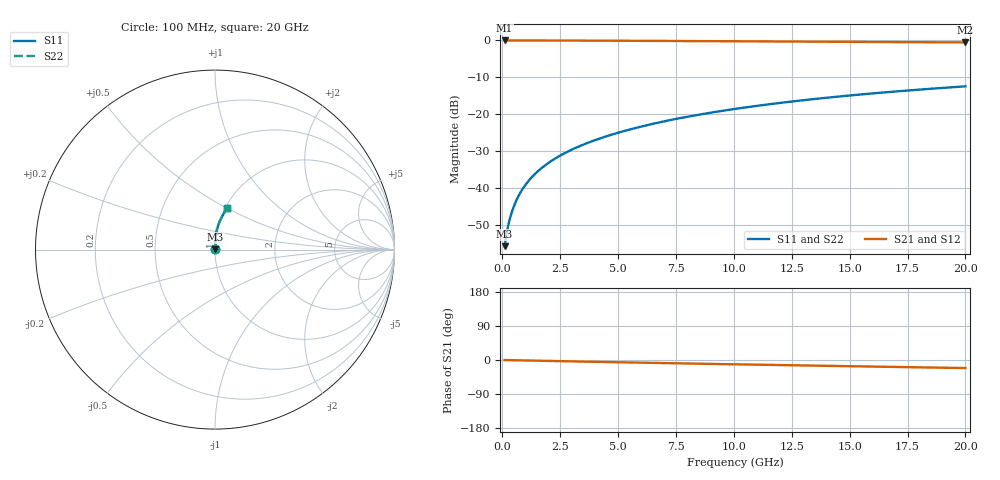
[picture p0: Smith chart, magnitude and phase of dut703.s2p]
! Touchstone file exported from HFSS 2024.1.0
!  File:  C:/UserFiles/LocalFiles/RDL_TSV_Batchsim/temp_RDL_bottom_703_1779857669.aedt
!  Generated:  12:57:10 PM May 27, 2026
!  Design:  RDL_bottom
!  Project:  temp_RDL_bottom_703_1779857669
!  Setup:  Setup1
!  Solution:  Sweep
! Variables:
!  dtsv = 10.80580581um
!  hbump = 3um
!  htsv = 57.97um
!  ldown = 264.1um
!  lrdl = 100um
!  p = 40
!  p1 = 53.24um
!  rhole = 1um
!  t = 450um
!  tdown = 4.62um
!  trdl = 3.915915916um
!  wdown = 20.28um
!  wrdl = 20um
# GHz S MA R 50.000000
! Terminal data exported
! Port[1] = RDL1_T1
! Port[2] = RDL1_T2
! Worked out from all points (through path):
!   200 points, 100 MHz to 20 GHz, reference 50 ohm
!   highest |S21| = -0.01 dB at 100 MHz (marker M1); lowest = -0.5 dB at 20 GHz (marker M2)
!   group delay of S21, straight-line fit = 2.93 ps
!   lowest |S11| = -55.7 dB at 100 MHz (marker M3), VSWR 1.00, Z = 50.1 + j0.117 ohm
!   |S11| at or under -10 dB: start of sweep to end of sweep
!   |S22| runs from -55.7 to -12.4 dB; largest |S21 - S12| = 4.1e-15
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0.1  0.001641 45.3  0.9988 -0.1  0.9988 -0.1  0.001641 45.3
! Gamma 0 0 0 0
! Port Impedance 50 0 50 0
0.2  0.002581 62.1  0.9988 -0.3  0.9988 -0.3  0.002581 62.1
0.3  0.003593 69.7  0.9987 -0.4  0.9987 -0.4  0.003592 69.7
0.4  0.004632 74.1  0.9986 -0.5  0.9986 -0.5  0.004632 74.1
0.5  0.005688 77.0  0.9986 -0.6  0.9986 -0.6  0.005688 77.0
0.6  0.006755 79.0  0.9985 -0.7  0.9985 -0.7  0.006755 79.0
0.8  0.008911 81.6  0.9983 -1.0  0.9983 -1.0  0.008911 81.6
1.1  0.01217 83.7  0.9981 -1.4  0.9981 -1.4  0.01217 83.7
1.5  0.01655 85.3  0.9976 -1.9  0.9976 -1.9  0.01655 85.3
1.8  0.01985 85.9  0.9972 -2.2  0.9972 -2.2  0.01985 85.9
2.1  0.02317 86.4  0.9968 -2.6  0.9968 -2.6  0.02317 86.4
2.7  0.02986 87.0  0.9957 -3.3  0.9957 -3.3  0.02986 87.0
3.5  0.0389 87.4  0.9939 -4.2  0.9939 -4.2  0.0389 87.4
4.2  0.04695 87.5  0.9921 -5.1  0.9921 -5.1  0.04695 87.5
5  0.05631 87.4  0.9898 -6.0  0.9898 -6.0  0.05631 87.4
5.9  0.06704 87.1  0.9872 -7.0  0.9872 -7.0  0.06704 87.1
6.8  0.07795 86.6  0.9844 -8.0  0.9844 -8.0  0.07796 86.6
8.4  0.09769 85.4  0.9792 -9.7  0.9792 -9.7  0.0977 85.4
10.1  0.1189 83.9  0.9737 -11.5  0.9737 -11.5  0.1189 83.9
13.4  0.1601 80.5  0.9629 -14.8  0.9629 -14.8  0.1601 80.5
16.7  0.2004 76.9  0.9516 -18.1  0.9516 -18.1  0.2004 76.9
20  0.2391 73.3  0.9398 -21.3  0.9398 -21.3  0.2391 73.3
